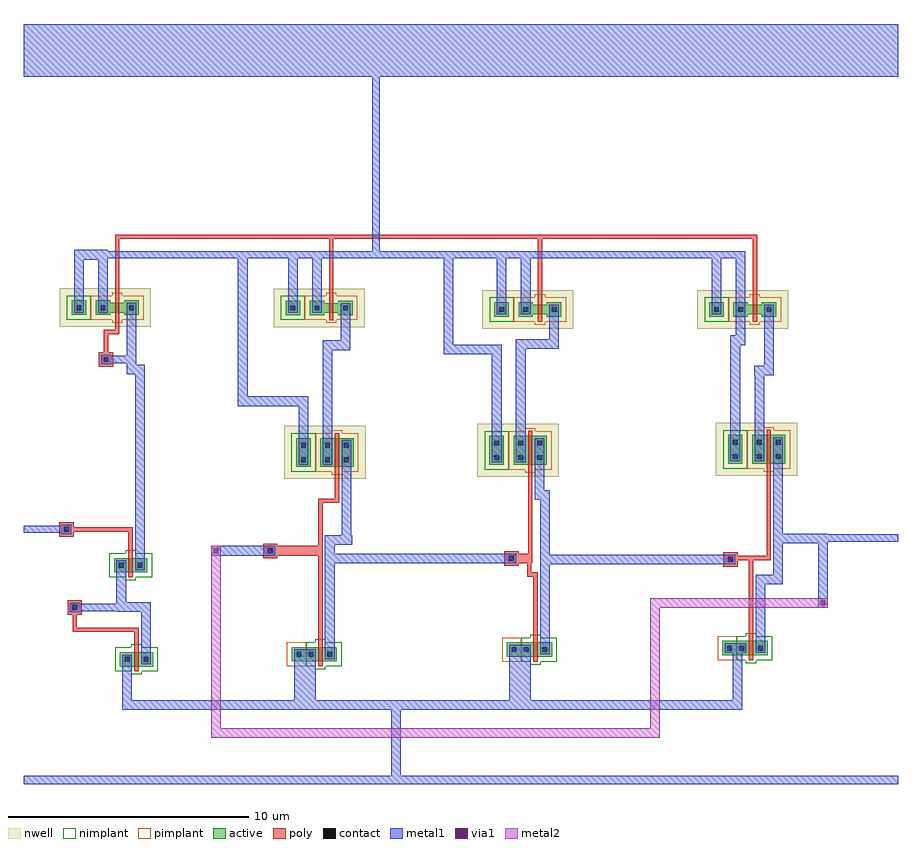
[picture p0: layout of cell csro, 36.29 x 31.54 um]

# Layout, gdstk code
import gdstk
lib = gdstk.Library(unit=1e-6, precision=5e-10)
def R(c, l, rs):  # rectangles x0, y0, x1, y1
    for r in rs: c.add(gdstk.rectangle(r[:2], r[2:], *l))
active = (1, 0)
nwell = (2, 0)
poly = (3, 0)
nimplant = (4, 0)
pimplant = (5, 0)
contact = (6, 0)
metal1 = (7, 0)
via1 = (8, 0)
metal2 = (9, 0)

pmos_cdns_788388929260 = lib.new_cell('pmos_CDNS_788388929260')
R(pmos_cdns_788388929260, active, [(-1.6,0,-1,1.2), (-0.6,0,0,1.2), (0,0,0.18,1.2), (0.18,0,0.78,1.2)])
R(pmos_cdns_788388929260, nwell, [(-2.1,-0.5,1.28,1.7)])
R(pmos_cdns_788388929260, poly, [(0,-0.205,0.18,-0.2), (0,-0.2,0.18,0), (0,0,0.18,1.2), (0,1.2,0.18,1.4), (0,1.4,0.18,1.405)])
R(pmos_cdns_788388929260, nimplant, [(-1.8,-0.2,-0.8,1.4)])
R(pmos_cdns_788388929260, pimplant, [(-0.12,-0.325,0.3,-0.2), (-0.8,-0.2,0.98,1.4), (-0.12,1.4,0.3,1.525)])
R(pmos_cdns_788388929260, contact, [(-1.4,0.2,-1.2,0.4), (-0.4,0.2,-0.2,0.4), (0.38,0.2,0.58,0.4), (-1.4,0.8,-1.2,1), (-0.4,0.8,-0.2,1), (0.38,0.8,0.58,1)])
R(pmos_cdns_788388929260, metal1, [(-1.5,0.1,-1.1,1.1), (-0.5,0.1,-0.1,1.1), (0.28,0.1,0.68,1.1)])

nmos_cdns_788388929261 = lib.new_cell('nmos_CDNS_788388929261')
R(nmos_cdns_788388929261, active, [(-0.6,0,0,0.6), (0,0,0.18,0.6), (0.18,0,0.78,0.6)])
R(nmos_cdns_788388929261, poly, [(0,-0.205,0.18,-0.2), (0,-0.2,0.18,0), (0,0,0.18,0.6), (0,0.6,0.18,0.8), (0,0.8,0.18,0.805)])
R(nmos_cdns_788388929261, nimplant, [(-0.12,-0.325,0.3,-0.2), (-0.8,-0.2,0.98,0.8), (-0.12,0.8,0.3,0.925)])
R(nmos_cdns_788388929261, contact, [(-0.4,0.2,-0.2,0.4), (0.38,0.2,0.58,0.4)])
R(nmos_cdns_788388929261, metal1, [(-0.5,0.1,-0.1,0.5), (0.28,0.1,0.68,0.5)])

pmos_cdns_788388929262 = lib.new_cell('pmos_CDNS_788388929262')
R(pmos_cdns_788388929262, active, [(-1.8,-0.1,-1.2,0.5), (-0.8,-0.1,-0.2,0.5), (0.38,-0.1,0.98,0.5), (-0.2,0,0,0.4), (0,0,0.18,0.4), (0.18,0,0.38,0.4)])
R(pmos_cdns_788388929262, nwell, [(-2.3,-0.6,1.48,1)])
R(pmos_cdns_788388929262, poly, [(0,-0.305,0.18,-0.3), (0,-0.3,0.18,0), (0,0,0.18,0.4), (0,0.4,0.18,0.7), (0,0.7,0.18,0.705)])
R(pmos_cdns_788388929262, nimplant, [(-2,-0.3,-1,0.7)])
R(pmos_cdns_788388929262, pimplant, [(-0.12,-0.425,0.3,-0.3), (-1,-0.3,1.18,0.7), (-0.12,0.7,0.3,0.825)])
R(pmos_cdns_788388929262, contact, [(-1.6,0.1,-1.4,0.3), (-0.6,0.1,-0.4,0.3), (0.58,0.1,0.78,0.3)])
R(pmos_cdns_788388929262, metal1, [(-1.7,0,-1.3,0.4), (-0.7,0,-0.3,0.4), (0.48,0,0.88,0.4)])

nmos_cdns_788388929263 = lib.new_cell('nmos_CDNS_788388929263')
R(nmos_cdns_788388929263, active, [(-1.1,0,0,0.6), (0,0,0.18,0.6), (0.18,0,0.78,0.6)])
R(nmos_cdns_788388929263, poly, [(0,-0.205,0.18,-0.2), (0,-0.2,0.18,0), (0,0,0.18,0.6), (0,0.6,0.18,0.8), (0,0.8,0.18,0.805)])
R(nmos_cdns_788388929263, nimplant, [(-0.12,-0.325,0.3,-0.2), (-0.5,-0.2,0.98,0.8), (-0.12,0.8,0.3,0.925)])
R(nmos_cdns_788388929263, pimplant, [(-1.3,-0.2,-0.5,0.8)])
R(nmos_cdns_788388929263, contact, [(-0.9,0.2,-0.7,0.4), (-0.4,0.2,-0.2,0.4), (0.38,0.2,0.58,0.4)])
R(nmos_cdns_788388929263, metal1, [(-1,0.1,-0.1,0.5), (-1,0.1,-0.1,0.5), (0.28,0.1,0.68,0.5)])

m1_poly1_cdns_7883889292 = lib.new_cell('M1_POLY1_CDNS_788388929260')
R(m1_poly1_cdns_7883889292, poly, [(-0.3,-0.3,0.3,0.3)])
R(m1_poly1_cdns_7883889292, contact, [(-0.1,-0.1,0.1,0.1)])
R(m1_poly1_cdns_7883889292, metal1, [(-0.2,-0.2,0.2,0.2)])

m2_m1_cdns_788388929261 = lib.new_cell('M2_M1_CDNS_788388929261')
R(m2_m1_cdns_788388929261, metal1, [(-0.2,-0.2,0.2,0.2)])
R(m2_m1_cdns_788388929261, via1, [(-0.1,-0.1,0.1,0.1)])
R(m2_m1_cdns_788388929261, metal2, [(-0.2,-0.2,0.2,0.2)])

csro = lib.new_cell('csro')
R(csro, metal1, [(0.01,-23.445,36.305,-23.105), (35.905,-13.385,36.305,-13.085), (0.01,-13.02,0.41,-12.72), (0.01,5.91,36.305,8.1)])
csro.add(gdstk.FlexPath([(3.3,-1.475),(2.105,-1.475)], 0.4, ends=(0.2, 0), simple_path=True, layer=7, datatype=0))  # metal1
csro.add(gdstk.FlexPath([(2.3,-3.475),(2.3,-1.5)], 0.4, ends="flush", simple_path=True, layer=7, datatype=0))  # metal1
csro.add(gdstk.FlexPath([(29.765,-1.475),(28.765,-1.475)], 0.3, ends=(0.2, 0.2), simple_path=True, layer=7, datatype=0))  # metal1
csro.add(gdstk.FlexPath([(28.765,-3.55),(28.765,-1.475)], 0.4, ends=(0, 0.15), simple_path=True, layer=7, datatype=0))  # metal1
csro.add(gdstk.FlexPath([(20.845,-1.475),(19.845,-1.475)], 0.3, ends=(0.2, 0.2), simple_path=True, layer=7, datatype=0))  # metal1
csro.add(gdstk.FlexPath([(19.845,-3.55),(19.845,-1.475)], 0.4, ends=(0, 0.15), simple_path=True, layer=7, datatype=0))  # metal1
csro.add(gdstk.FlexPath([(12.18,-1.475),(11.18,-1.475)], 0.3, ends=(0.2, 0.2), simple_path=True, layer=7, datatype=0))  # metal1
csro.add(gdstk.FlexPath([(29.765,-3.55),(29.765,-1.475)], 0.4, ends=(0, 0.15), simple_path=True, layer=7, datatype=0))  # metal1
csro.add(gdstk.FlexPath([(15.46,-20.16),(15.46,-23.105)], 0.4, ends=(0.2, 0), simple_path=True, layer=7, datatype=0))  # metal1
csro.add(gdstk.FlexPath([(29.765,-5.025),(29.54,-5.025)], 0.4, ends="extended", simple_path=True, layer=7, datatype=0))  # metal1
csro.add(gdstk.FlexPath([(15.46,-20.16),(20.61,-20.16)], 0.4, ends=(0.2, 0.45), simple_path=True, layer=7, datatype=0))  # metal1
csro.add(gdstk.FlexPath([(17.645,-1.475),(14.63,-1.475)], 0.3, ends=(0.2, 0.15), simple_path=True, layer=7, datatype=0))  # metal1
csro.add(gdstk.FlexPath([(31.32,-13.255),(33.185,-13.255)], 0.4, ends=(0.2, 0.15), simple_path=True, layer=7, datatype=0))  # metal1
csro.add(gdstk.FlexPath([(14.63,-1.475),(14.63,5.91)], 0.3, ends=(0.15, 0), simple_path=True, layer=7, datatype=0))  # metal1
csro.add(gdstk.FlexPath([(31.32,-10.055),(31.32,-13.255)], 0.4, ends=(0, 0.2), simple_path=True, layer=7, datatype=0))  # metal1
csro.add(gdstk.FlexPath([(29.765,-3.95),(29.765,-5.025)], 0.4, ends=(0, 0.2), simple_path=True, layer=7, datatype=0))  # metal1
csro.add(gdstk.FlexPath([(4.48,-6.24),(4.48,-5.825)], 0.4, ends=(0.2, 0.15), simple_path=True, layer=7, datatype=0))  # metal1
csro.add(gdstk.FlexPath([(3.42,-5.825),(4.48,-5.825)], 0.3, ends=(0, 0.2), simple_path=True, layer=7, datatype=0))  # metal1
csro.add(gdstk.FlexPath([(21.42,-11.455),(21.52,-11.455)], 0.4, ends="extended", simple_path=True, layer=7, datatype=0))  # metal1
csro.add(gdstk.FlexPath([(29.34,-14.12),(21.775,-14.12)], 0.4, ends=(0, 0.2), simple_path=True, layer=7, datatype=0))  # metal1
csro.add(gdstk.FlexPath([(21.64,-17.665),(21.64,-11.455)], 0.4, ends=(0, 0.2), simple_path=True, layer=7, datatype=0))  # metal1
csro.add(gdstk.FlexPath([(20.245,-14.08),(12.71,-14.08)], 0.4, ends=(0, 0.2), simple_path=True, layer=7, datatype=0))  # metal1
csro.add(gdstk.FlexPath([(12.71,-14.08),(12.71,-13.31)], 0.4, ends="extended", simple_path=True, layer=7, datatype=0))  # metal1
csro.add(gdstk.FlexPath([(0.41,-12.87),(1.78,-12.87)], 0.3, ends=(0, 0.15), simple_path=True, layer=7, datatype=0))  # metal1
csro.add(gdstk.FlexPath([(11.68,-20.16),(15.46,-20.16)], 0.4, ends=(0.45, 0.2), simple_path=True, layer=7, datatype=0))  # metal1
csro.add(gdstk.FlexPath([(20.61,-18.065),(20.61,-20.16)], 0.9, ends=(0, 0.2), simple_path=True, layer=7, datatype=0))  # metal1
csro.add(gdstk.FlexPath([(4.3,-20.16),(11.68,-20.16)], 0.4, ends=(0.2, 0.45), simple_path=True, layer=7, datatype=0))  # metal1
csro.add(gdstk.FlexPath([(11.68,-18.26),(11.68,-20.16)], 0.9, ends=(0, 0.2), simple_path=True, layer=7, datatype=0))  # metal1
csro.add(gdstk.FlexPath([(29.64,-20.16),(29.64,-18.005)], 0.4, ends=(0.2, 0), simple_path=True, layer=7, datatype=0))  # metal1
csro.add(gdstk.FlexPath([(20.61,-20.16),(29.64,-20.16)], 0.4, ends=(0.45, 0.2), simple_path=True, layer=7, datatype=0))  # metal1
csro.add(gdstk.FlexPath([(4.3,-18.47),(4.3,-20.16)], 0.4, ends=(0, 0.2), simple_path=True, layer=7, datatype=0))  # metal1
csro.add(gdstk.FlexPath([(7.99,-13.765),(10.24,-13.765)], 0.4, ends="flush", simple_path=True, layer=7, datatype=0))  # metal1
csro.add(gdstk.FlexPath([(33.185,-13.255),(33.185,-15.925)], 0.4, ends=(0.2, 0), simple_path=True, layer=7, datatype=0))  # metal1
csro.add(gdstk.FlexPath([(1.78,-12.87),(1.78,-12.875)], 0.3, ends=(0.15, 0), simple_path=True, layer=7, datatype=0))  # metal1
csro.add(gdstk.FlexPath([(33.185,-13.235),(33.185,-13.255)], 0.3, ends=(0.15, 0.2), simple_path=True, layer=7, datatype=0))  # metal1
csro.add(gdstk.FlexPath([(31.32,-13.255),(31.32,-14.95)], 0.4, ends="extended", simple_path=True, layer=7, datatype=0))  # metal1
csro.add(gdstk.FlexPath([(30.585,-17.605),(30.585,-14.95)], 0.4, ends=(0, 0.2), simple_path=True, layer=7, datatype=0))  # metal1
csro.add(gdstk.FlexPath([(36.105,-13.235),(33.185,-13.235)], 0.3, ends=(0, 0.15), simple_path=True, layer=7, datatype=0))  # metal1
csro.add(gdstk.FlexPath([(31.32,-14.95),(30.59,-14.95)], 0.4, ends="extended", simple_path=True, layer=7, datatype=0))  # metal1
csro.add(gdstk.FlexPath([(30.59,-14.95),(30.59,-15.055)], 0.4, ends=(0.2, 0), simple_path=True, layer=7, datatype=0))  # metal1
csro.add(gdstk.FlexPath([(30.585,-14.95),(30.59,-14.95)], 0.4, ends="extended", simple_path=True, layer=7, datatype=0))  # metal1
csro.add(gdstk.FlexPath([(21.64,-11.455),(21.52,-11.455)], 0.4, ends="extended", simple_path=True, layer=7, datatype=0))  # metal1
csro.add(gdstk.FlexPath([(21.52,-11.455),(21.52,-11.305)], 0.4, ends=(0.2, 0), simple_path=True, layer=7, datatype=0))  # metal1
csro.add(gdstk.FlexPath([(21.42,-10.095),(21.42,-11.455)], 0.4, ends=(0, 0.2), simple_path=True, layer=7, datatype=0))  # metal1
csro.add(gdstk.FlexPath([(12.71,-13.31),(13.4,-13.31)], 0.4, ends="extended", simple_path=True, layer=7, datatype=0))  # metal1
csro.add(gdstk.FlexPath([(13.4,-10.185),(13.4,-13.31)], 0.4, ends=(0, 0.2), simple_path=True, layer=7, datatype=0))  # metal1
csro.add(gdstk.FlexPath([(13.4,-13.31),(13.645,-13.31)], 0.4, ends=(0.2, 0), simple_path=True, layer=7, datatype=0))  # metal1
csro.add(gdstk.FlexPath([(12.71,-17.86),(12.71,-14.08)], 0.4, ends=(0, 0.2), simple_path=True, layer=7, datatype=0))  # metal1
csro.add(gdstk.FlexPath([(4.055,-16.115),(4.055,-16.095)], 0.3, ends=(0.15, 0.2), simple_path=True, layer=7, datatype=0))  # metal1
csro.add(gdstk.FlexPath([(2.125,-16.115),(4.055,-16.115)], 0.3, ends=(0, 0.15), simple_path=True, layer=7, datatype=0))  # metal1
csro.add(gdstk.FlexPath([(4.055,-14.565),(4.055,-16.095)], 0.4, ends=(0, 0.2), simple_path=True, layer=7, datatype=0))  # metal1
csro.add(gdstk.FlexPath([(4.055,-16.095),(5.08,-16.095)], 0.4, ends=(0.15, 0.2), simple_path=True, layer=7, datatype=0))  # metal1
csro.add(gdstk.FlexPath([(5.08,-16.095),(5.08,-18.07)], 0.4, ends=(0.2, 0), simple_path=True, layer=7, datatype=0))  # metal1
csro.add(gdstk.FlexPath([(4.48,-5.825),(4.48,-3.875)], 0.4, ends=(0.15, 0), simple_path=True, layer=7, datatype=0))  # metal1
csro.add(gdstk.FlexPath([(4.835,-14.165),(4.835,-6.24)], 0.4, ends=(0, 0.2), simple_path=True, layer=7, datatype=0))  # metal1
csro.add(gdstk.FlexPath([(4.835,-6.24),(4.48,-6.24)], 0.4, ends="extended", simple_path=True, layer=7, datatype=0))  # metal1
csro.add(gdstk.FlexPath([(30.945,-3.95),(30.945,-6.28)], 0.4, ends=(0, 0.2), simple_path=True, layer=7, datatype=0))  # metal1
csro.add(gdstk.FlexPath([(30.945,-6.28),(30.54,-6.28)], 0.4, ends="extended", simple_path=True, layer=7, datatype=0))  # metal1
csro.add(gdstk.FlexPath([(30.54,-6.28),(30.32,-6.28)], 0.4, ends=(0.2, 0), simple_path=True, layer=7, datatype=0))  # metal1
csro.add(gdstk.FlexPath([(20.64,-5.185),(22.025,-5.185)], 0.4, ends="extended", simple_path=True, layer=7, datatype=0))  # metal1
csro.add(gdstk.FlexPath([(20.64,-9.095),(20.64,-5.185)], 0.4, ends=(0, 0.2), simple_path=True, layer=7, datatype=0))  # metal1
csro.add(gdstk.FlexPath([(30.54,-9.055),(30.54,-6.28)], 0.4, ends=(0, 0.2), simple_path=True, layer=7, datatype=0))  # metal1
csro.add(gdstk.FlexPath([(13.36,-5.235),(12.62,-5.235)], 0.4, ends="extended", simple_path=True, layer=7, datatype=0))  # metal1
csro.add(gdstk.FlexPath([(13.36,-3.885),(13.36,-5.235)], 0.4, ends=(0, 0.2), simple_path=True, layer=7, datatype=0))  # metal1
csro.add(gdstk.FlexPath([(22.025,-5.185),(22.025,-3.95)], 0.4, ends=(0.2, 0), simple_path=True, layer=7, datatype=0))  # metal1
csro.add(gdstk.FlexPath([(12.62,-5.235),(12.62,-9.185)], 0.4, ends=(0.2, 0), simple_path=True, layer=7, datatype=0))  # metal1
csro.add(gdstk.FlexPath([(29.54,-5.025),(29.54,-9.055)], 0.4, ends=(0.2, 0), simple_path=True, layer=7, datatype=0))  # metal1
csro.add(gdstk.FlexPath([(19.845,-1.475),(17.645,-1.475)], 0.3, ends=(0.2, 0.2), simple_path=True, layer=7, datatype=0))  # metal1
csro.add(gdstk.FlexPath([(17.645,-5.415),(17.645,-1.475)], 0.4, ends=(0.2, 0.15), simple_path=True, layer=7, datatype=0))  # metal1
csro.add(gdstk.FlexPath([(19.64,-5.415),(17.645,-5.415)], 0.4, ends="extended", simple_path=True, layer=7, datatype=0))  # metal1
csro.add(gdstk.FlexPath([(19.64,-9.095),(19.64,-5.415)], 0.4, ends=(0, 0.2), simple_path=True, layer=7, datatype=0))  # metal1
csro.add(gdstk.FlexPath([(11.18,-3.485),(11.18,-1.475)], 0.4, ends=(0, 0.15), simple_path=True, layer=7, datatype=0))  # metal1
csro.add(gdstk.FlexPath([(14.63,-1.475),(12.18,-1.475)], 0.3, ends=(0.15, 0.2), simple_path=True, layer=7, datatype=0))  # metal1
csro.add(gdstk.FlexPath([(28.765,-1.475),(20.845,-1.475)], 0.3, ends=(0.2, 0.2), simple_path=True, layer=7, datatype=0))  # metal1
csro.add(gdstk.FlexPath([(12.18,-3.485),(12.18,-1.475)], 0.4, ends=(0, 0.15), simple_path=True, layer=7, datatype=0))  # metal1
csro.add(gdstk.FlexPath([(11.62,-9.185),(11.62,-7.56)], 0.4, ends=(0, 0.2), simple_path=True, layer=7, datatype=0))  # metal1
csro.add(gdstk.FlexPath([(20.845,-3.55),(20.845,-1.475)], 0.4, ends=(0, 0.15), simple_path=True, layer=7, datatype=0))  # metal1
csro.add(gdstk.FlexPath([(11.62,-7.56),(9.1,-7.56)], 0.4, ends="extended", simple_path=True, layer=7, datatype=0))  # metal1
csro.add(gdstk.FlexPath([(9.1,-7.56),(9.1,-1.475)], 0.4, ends=(0.2, 0.15), simple_path=True, layer=7, datatype=0))  # metal1
csro.add(gdstk.FlexPath([(11.18,-1.475),(9.1,-1.475)], 0.3, ends=(0.2, 0.2), simple_path=True, layer=7, datatype=0))  # metal1
csro.add(gdstk.FlexPath([(3.3,-1.475),(9.1,-1.475)], 0.3, ends=(0.2, 0.2), simple_path=True, layer=7, datatype=0))  # metal1
csro.add(gdstk.FlexPath([(3.3,-3.475),(3.3,-1.475)], 0.4, ends=(0, 0.2), simple_path=True, layer=7, datatype=0))  # metal1
csro.add(gdstk.FlexPath([(21.435,-0.73),(12.77,-0.73)], 0.18, ends="extended", simple_path=True, layer=3, datatype=0))  # poly
csro.add(gdstk.FlexPath([(12.77,-3.18),(12.77,-0.73)], 0.18, ends=(0, 0.09), simple_path=True, layer=3, datatype=0))  # poly
csro.add(gdstk.FlexPath([(30.355,-3.245),(30.355,-0.73)], 0.18, ends=(0, 0.09), simple_path=True, layer=3, datatype=0))  # poly
csro.add(gdstk.FlexPath([(3.89,-0.73),(3.89,-3.17)], 0.18, ends=(0.09, 0), simple_path=True, layer=3, datatype=0))  # poly
csro.add(gdstk.FlexPath([(12.77,-0.73),(3.89,-0.73)], 0.18, ends="extended", simple_path=True, layer=3, datatype=0))  # poly
csro.add(gdstk.FlexPath([(30.355,-0.73),(21.435,-0.73)], 0.18, ends="extended", simple_path=True, layer=3, datatype=0))  # poly
csro.add(gdstk.FlexPath([(21.435,-3.245),(21.435,-0.73)], 0.18, ends=(0, 0.09), simple_path=True, layer=3, datatype=0))  # poly
csro.add(gdstk.FlexPath([(20.99,-14.08),(21.03,-14.08)], 0.18, ends="extended", simple_path=True, layer=3, datatype=0))  # poly
csro.add(gdstk.FlexPath([(30.195,-14.06),(29.34,-14.06)], 0.18, ends="extended", simple_path=True, layer=3, datatype=0))  # poly
csro.add(gdstk.FlexPath([(29.34,-14.06),(29.34,-14.12)], 0.18, ends=(0.09, 0), simple_path=True, layer=3, datatype=0))  # poly
csro.add(gdstk.FlexPath([(21.25,-17.36),(21.25,-14.745)], 0.18, ends=(0, 0.09), simple_path=True, layer=3, datatype=0))  # poly
csro.add(gdstk.FlexPath([(21.03,-14.08),(20.245,-14.08)], 0.4, ends=(0.09, 0), simple_path=True, layer=3, datatype=0))  # poly
csro.add(gdstk.FlexPath([(4.445,-12.875),(4.445,-13.86)], 0.18, ends=(0.09, 0), simple_path=True, layer=3, datatype=0))  # poly
csro.add(gdstk.FlexPath([(1.78,-12.875),(4.445,-12.875)], 0.18, ends=(0, 0.09), simple_path=True, layer=3, datatype=0))  # poly
csro.add(gdstk.FlexPath([(12.32,-11.69),(12.32,-13.765)], 0.18, ends=(0.09, 0.2), simple_path=True, layer=3, datatype=0))  # poly
csro.add(gdstk.FlexPath([(10.24,-13.765),(12.32,-13.765)], 0.4, ends=(0, 0.09), simple_path=True, layer=3, datatype=0))  # poly
csro.add(gdstk.FlexPath([(30.195,-17.3),(30.195,-14.06)], 0.18, ends=(0, 0.09), simple_path=True, layer=3, datatype=0))  # poly
csro.add(gdstk.FlexPath([(30.195,-14.06),(30.93,-14.06)], 0.18, ends=(0.2, 0.09), simple_path=True, layer=3, datatype=0))  # poly
csro.add(gdstk.FlexPath([(21.03,-10.4),(21.03,-14.08)], 0.18, ends=(0, 0.09), simple_path=True, layer=3, datatype=0))  # poly
csro.add(gdstk.FlexPath([(20.99,-14.745),(20.99,-14.08)], 0.18, ends="extended", simple_path=True, layer=3, datatype=0))  # poly
csro.add(gdstk.FlexPath([(30.93,-14.06),(30.93,-10.36)], 0.18, ends=(0.09, 0), simple_path=True, layer=3, datatype=0))  # poly
csro.add(gdstk.FlexPath([(21.25,-14.745),(20.99,-14.745)], 0.18, ends="extended", simple_path=True, layer=3, datatype=0))  # poly
csro.add(gdstk.FlexPath([(12.32,-13.765),(12.32,-17.555)], 0.18, ends=(0.2, 0), simple_path=True, layer=3, datatype=0))  # poly
csro.add(gdstk.FlexPath([(13.01,-11.69),(12.32,-11.69)], 0.18, ends="extended", simple_path=True, layer=3, datatype=0))  # poly
csro.add(gdstk.FlexPath([(13.01,-10.49),(13.01,-11.69)], 0.18, ends=(0, 0.09), simple_path=True, layer=3, datatype=0))  # poly
csro.add(gdstk.FlexPath([(4.69,-17.765),(4.69,-17.04)], 0.18, ends=(0, 0.09), simple_path=True, layer=3, datatype=0))  # poly
csro.add(gdstk.FlexPath([(4.69,-17.04),(2.125,-17.04)], 0.18, ends="extended", simple_path=True, layer=3, datatype=0))  # poly
csro.add(gdstk.FlexPath([(2.125,-17.04),(2.125,-16.115)], 0.18, ends=(0.09, 0), simple_path=True, layer=3, datatype=0))  # poly
csro.add(gdstk.FlexPath([(3.89,-4.69),(3.42,-4.69)], 0.18, ends="extended", simple_path=True, layer=3, datatype=0))  # poly
csro.add(gdstk.FlexPath([(3.42,-4.69),(3.42,-5.825)], 0.18, ends=(0.09, 0), simple_path=True, layer=3, datatype=0))  # poly
csro.add(gdstk.FlexPath([(3.89,-4.18),(3.89,-4.69)], 0.18, ends=(0, 0.09), simple_path=True, layer=3, datatype=0))  # poly
csro.add(gdstk.FlexPath([(7.99,-21.325),(7.99,-13.765)], 0.4, ends=(0.2, 0), simple_path=True, layer=9, datatype=0))  # metal2
csro.add(gdstk.FlexPath([(26.205,-21.325),(7.99,-21.325)], 0.4, ends="extended", simple_path=True, layer=9, datatype=0))  # metal2
csro.add(gdstk.FlexPath([(26.205,-15.925),(26.205,-21.325)], 0.4, ends="extended", simple_path=True, layer=9, datatype=0))  # metal2
csro.add(gdstk.FlexPath([(33.185,-15.925),(26.205,-15.925)], 0.4, ends=(0, 0.2), simple_path=True, layer=9, datatype=0))  # metal2
csro.add(gdstk.Reference(pmos_cdns_788388929260, (30.84,-10.155)))
csro.add(gdstk.Reference(pmos_cdns_788388929260, (20.94,-10.195)))
csro.add(gdstk.Reference(pmos_cdns_788388929260, (12.92,-10.285)))
csro.add(gdstk.Reference(nmos_cdns_788388929261, (4.6,-18.57)))
csro.add(gdstk.Reference(nmos_cdns_788388929261, (4.355,-14.665)))
csro.add(gdstk.Reference(pmos_cdns_788388929262, (30.265,-3.95)))
csro.add(gdstk.Reference(pmos_cdns_788388929262, (21.345,-3.95)))
csro.add(gdstk.Reference(pmos_cdns_788388929262, (12.68,-3.885)))
csro.add(gdstk.Reference(pmos_cdns_788388929262, (3.8,-3.875)))
csro.add(gdstk.Reference(nmos_cdns_788388929263, (30.105,-18.105)))
csro.add(gdstk.Reference(nmos_cdns_788388929263, (21.16,-18.165)))
csro.add(gdstk.Reference(nmos_cdns_788388929263, (12.23,-18.36)))
csro.add(gdstk.Reference(m1_poly1_cdns_7883889292, (29.34,-14.12)))
csro.add(gdstk.Reference(m1_poly1_cdns_7883889292, (20.245,-14.08)))
csro.add(gdstk.Reference(m1_poly1_cdns_7883889292, (1.78,-12.875)))
csro.add(gdstk.Reference(m1_poly1_cdns_7883889292, (10.24,-13.765)))
csro.add(gdstk.Reference(m1_poly1_cdns_7883889292, (2.125,-16.115)))
csro.add(gdstk.Reference(m1_poly1_cdns_7883889292, (3.42,-5.825)))
csro.add(gdstk.Reference(m2_m1_cdns_788388929261, (7.99,-13.765)))
csro.add(gdstk.Reference(m2_m1_cdns_788388929261, (33.185,-15.925)))

lib.write_gds('csro.gds')
